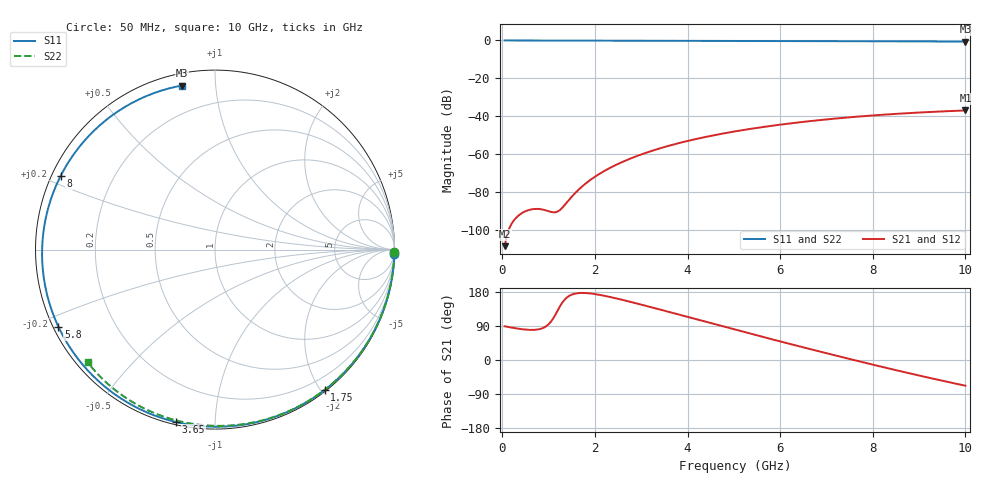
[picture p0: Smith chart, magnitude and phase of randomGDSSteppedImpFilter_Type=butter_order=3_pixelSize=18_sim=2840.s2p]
! freq	dB(S11)	phase(S11)	dB(S12)	phase(S12)
!  dB(S21)	phase(S21)	dB(S22)	phase(S22)
!S-par simulation data
#  GHz  S  DB  R 50
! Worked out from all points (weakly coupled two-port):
!   200 points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, 50 MHz to 10 GHz, reference 50 ohm
!   highest |S21| = -36.99 dB at 10 GHz (marker M1); lowest = -108.7 dB at 50 MHz (marker M2)
!   lowest |S11| = -0.6 dB at 10 GHz (marker M3), VSWR 28.63, Z = 2.91 + j40.8 ohm
!   |S11| at or under -10 dB: nowhere
!   |S22| runs from -0.5 to 0.0 dB; largest |S21 - S12| = 0
!   S11 on the Smith chart (normalised r, x): 50 MHz: 0, -74; 1.75 GHz: 0.02, -2.05; 3.65 GHz: 0.01, -0.80; 5.8 GHz: 0.01, -0.23; 8 GHz: 0.03, +0.23; 10 GHz: 0.06, +0.82
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0.05  -0.00 -1.5  -108.71 89.0  -108.71 89.0  -0.00 -0.8
0.4  -0.02 -12.2  -91.61 81.7  -91.61 81.7  -0.01 -6.4
0.8  -0.03 -24.2  -89.08 81.3  -89.08 81.3  -0.02 -12.7
1.2  -0.05 -36.1  -90.37 131.7  -90.37 131.7  -0.02 -19.0
1.6  -0.06 -47.7  -79.99 175.8  -79.99 175.8  -0.03 -25.3
1.75  -0.07 -52.0  -76.61 176.9  -76.61 176.9  -0.04 -27.6
2.05  -0.08 -60.5  -71.23 173.0  -71.23 173.0  -0.04 -32.3
2.45  -0.09 -71.5  -65.82 162.9  -65.82 162.9  -0.05 -38.4
2.9  -0.10 -83.5  -61.14 149.3  -61.14 149.3  -0.06 -45.1
3.4  -0.12 -96.5  -57.04 133.3  -57.04 133.3  -0.07 -52.5
3.65  -0.13 -102.7  -55.29 125.2  -55.29 125.2  -0.08 -56.2
4.3  -0.16 -118.7  -51.46 103.9  -51.46 103.9  -0.09 -65.5
5.05  -0.20 -136.4  -47.95 79.4  -47.95 79.4  -0.12 -76.0
5.8  -0.24 -153.7  -45.16 55.4  -45.16 55.4  -0.15 -86.1
6.25  -0.27 -164.1  -43.74 41.2  -43.74 41.2  -0.17 -92.0
6.7  -0.31 -174.5  -42.49 27.1  -42.49 27.1  -0.19 -97.9
7.35  -0.36 170.3  -40.93 7.2  -40.93 7.2  -0.23 -106.1
8  -0.42 154.6  -39.63 -12.2  -39.63 -12.2  -0.28 -114.2
8.35  -0.45 145.8  -39.03 -22.5  -39.03 -22.5  -0.30 -118.5
8.8  -0.49 134.3  -38.36 -35.4  -38.36 -35.4  -0.34 -124.0
9.25  -0.54 122.3  -37.78 -47.9  -37.78 -47.9  -0.39 -129.4
10  -0.61 101.5  -36.99 -67.8  -36.99 -67.8  -0.47 -138.5
